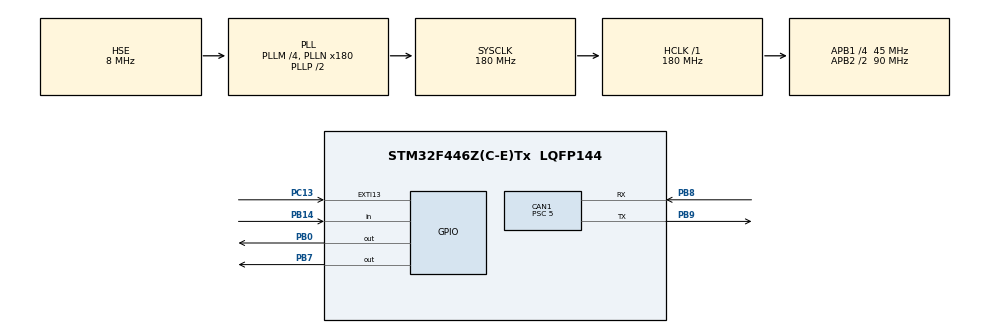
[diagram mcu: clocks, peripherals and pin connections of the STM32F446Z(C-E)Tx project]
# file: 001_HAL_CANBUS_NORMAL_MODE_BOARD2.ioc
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CAN1.ABOM=ENABLE
CAN1.AWUM=ENABLE
CAN1.BS1=CAN_BS1_15TQ
CAN1.BS2=CAN_BS2_2TQ
CAN1.CalculateBaudRate=500000
CAN1.CalculateTimeBit=1999.99
CAN1.CalculateTimeQuantum=111.11111111111111
CAN1.Prescaler=5
Mcu.Family=STM32F4
Mcu.Name=STM32F446Z(C-E)Tx
Mcu.Package=LQFP144
NVIC.EXTI15_10_IRQn=true\:0\:0\:false\:false\:true\:true\:true
NVIC.PriorityGroup=NVIC_PRIORITYGROUP_4
NVIC.TIM8_TRG_COM_TIM14_IRQn=true\:15\:0\:false\:false\:true\:false\:true
NVIC.TimeBase=TIM8_TRG_COM_TIM14_IRQn
NVIC.TimeBaseIP=TIM14
PB0.Signal=GPIO_Output
PB14.Signal=GPIO_Input
PB7.Signal=GPIO_Output
PB8.Mode=CAN_Activate
PB8.Signal=CAN1_RX
PB9.Mode=CAN_Activate
PB9.Signal=CAN1_TX
PC13.Signal=GPXTI13
PH0-OSC_IN.Mode=HSE-External-Oscillator
PH0-OSC_IN.Signal=RCC_OSC_IN
PH1-OSC_OUT.Mode=HSE-External-Oscillator
PH1-OSC_OUT.Signal=RCC_OSC_OUT
ProjectManager.HeapSize=0x200
ProjectManager.StackSize=0x400
ProjectManager.TargetToolchain=TrueSTUDIO
RCC.AHBFreq_Value=180000000
RCC.APB1CLKDivider=RCC_HCLK_DIV4
RCC.APB1Freq_Value=45000000
RCC.APB1TimFreq_Value=90000000
RCC.APB2CLKDivider=RCC_HCLK_DIV2
RCC.APB2Freq_Value=90000000
RCC.APB2TimFreq_Value=180000000
RCC.CortexFreq_Value=180000000
RCC.HCLKFreq_Value=180000000
RCC.HSE_VALUE=8000000
RCC.PLLM=4
RCC.PLLN=180
RCC.PLLSourceVirtual=RCC_PLLSOURCE_HSE
RCC.SYSCLKFreq_VALUE=180000000
RCC.SYSCLKSource=RCC_SYSCLKSOURCE_PLLCLK
RCC.USBFreq_Value=180000000
RCC.VCOOutputFreq_Value=360000000
VP_SYS_VS_tim14.Mode=TIM14
board=custom

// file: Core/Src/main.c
/* USER CODE BEGIN Header */
/**
  ******************************************************************************
  * @file           : main.c
  * @brief          : Main program body
  ******************************************************************************
  * @attention
  *
  * <h2><center>&copy; Copyright (c) 2021 STMicroelectronics.
  * All rights reserved.</center></h2>
  *
  * This software component is licensed by ST under BSD 3-Clause license,
  * the "License"; You may not use this file except in compliance with the
  * License. You may obtain a copy of the License at:
  *                        opensource.org/licenses/BSD-3-Clause
  *
  ******************************************************************************
  */
/* USER CODE END Header */
#include "main.h"
#include "deltav_can.h"

CAN_HandleTypeDef hcan1;

/* USER CODE BEGIN PV */
uint8_t TxData[8];
uint8_t count = 0;
/* USER CODE END PV */

void SystemClock_Config(void);
static void MX_GPIO_Init(void);
static void MX_CAN1_Init(void);

int main(void)
{

  /* MCU Configuration--------------------------------------------------------*/

  /* Reset of all peripherals, Initializes the Flash interface and the Systick. */
  HAL_Init();

  /* Configure the system clock */
  SystemClock_Config();

  /* Initialize all configured peripherals */
  MX_GPIO_Init();
  MX_CAN1_Init();
  /* USER CODE BEGIN 2 */
  CAN_FilterConfig(&hcan1, CAN_ID_EXT, CAN_FILTER_ENABLE, 0, CAN_FILTER_FIFO0, CAN_FILTERMODE_IDLIST, CAN_FILTERSCALE_32BIT, 14, 0x1F45DA12, 0x1F45DA12, 0x1FFFFFF0, 0x1FFFFFF0);
  CAN_FilterConfig(&hcan1, CAN_ID_STD, CAN_FILTER_ENABLE, 1, CAN_FILTER_FIFO0, CAN_FILTERMODE_IDMASK, CAN_FILTERSCALE_32BIT, 14, 0x0123, 0x0000, 0x07FF, 0x0000);
  //  Enable interrupts.
  if (HAL_CAN_ActivateNotification(&hcan1, CAN_IT_RX_FIFO0_MSG_PENDING) != HAL_OK)
  {
  	Error_Handler();
  }
  CAN_Start(&hcan1);
  /* USER CODE END 2 */

  /* Infinite loop */
  while (1)
  {

  }
}

void SystemClock_Config(void)
{
  RCC_OscInitTypeDef RCC_OscInitStruct = {0};
  RCC_ClkInitTypeDef RCC_ClkInitStruct = {0};

  /** Configure the main internal regulator output voltage
  */
  __HAL_RCC_PWR_CLK_ENABLE();
  __HAL_PWR_VOLTAGESCALING_CONFIG(PWR_REGULATOR_VOLTAGE_SCALE1);
  /** Initializes the RCC Oscillators according to the specified parameters
  * in the RCC_OscInitTypeDef structure.
  */
  RCC_OscInitStruct.OscillatorType = RCC_OSCILLATORTYPE_HSE;
  RCC_OscInitStruct.HSEState = RCC_HSE_ON;
  RCC_OscInitStruct.PLL.PLLState = RCC_PLL_ON;
  RCC_OscInitStruct.PLL.PLLSource = RCC_PLLSOURCE_HSE;
  RCC_OscInitStruct.PLL.PLLM = 4;
  RCC_OscInitStruct.PLL.PLLN = 180;
  RCC_OscInitStruct.PLL.PLLP = RCC_PLLP_DIV2;
  RCC_OscInitStruct.PLL.PLLQ = 2;
  RCC_OscInitStruct.PLL.PLLR = 2;
  if (HAL_RCC_OscConfig(&RCC_OscInitStruct) != HAL_OK)
  {
    Error_Handler();
  }
  /** Activate the Over-Drive mode
  */
  if (HAL_PWREx_EnableOverDrive() != HAL_OK)
  {
    Error_Handler();
  }
  /** Initializes the CPU, AHB and APB buses clocks
  */
  RCC_ClkInitStruct.ClockType = RCC_CLOCKTYPE_HCLK|RCC_CLOCKTYPE_SYSCLK
                              |RCC_CLOCKTYPE_PCLK1|RCC_CLOCKTYPE_PCLK2;
  RCC_ClkInitStruct.SYSCLKSource = RCC_SYSCLKSOURCE_PLLCLK;
  RCC_ClkInitStruct.AHBCLKDivider = RCC_SYSCLK_DIV1;
  RCC_ClkInitStruct.APB1CLKDivider = RCC_HCLK_DIV4;
  RCC_ClkInitStruct.APB2CLKDivider = RCC_HCLK_DIV2;

  if (HAL_RCC_ClockConfig(&RCC_ClkInitStruct, FLASH_LATENCY_5) != HAL_OK)
  {
    Error_Handler();
  }
}

static void MX_CAN1_Init(void)
{

  hcan1.Instance = CAN1;
  hcan1.Init.Prescaler = 20;
  hcan1.Init.Mode = CAN_MODE_NORMAL;
  hcan1.Init.SyncJumpWidth = CAN_SJW_1TQ;
  hcan1.Init.TimeSeg1 = CAN_BS1_15TQ;
  hcan1.Init.TimeSeg2 = CAN_BS2_2TQ;
  hcan1.Init.TimeTriggeredMode = DISABLE;
  hcan1.Init.AutoBusOff = ENABLE;
  hcan1.Init.AutoWakeUp = ENABLE;
  hcan1.Init.AutoRetransmission = DISABLE;
  hcan1.Init.ReceiveFifoLocked = DISABLE;
  hcan1.Init.TransmitFifoPriority = DISABLE;
  if (HAL_CAN_Init(&hcan1) != HAL_OK)
  {
    Error_Handler();
  }

}

static void MX_GPIO_Init(void)
{
  GPIO_InitTypeDef GPIO_InitStruct = {0};

  /* GPIO Ports Clock Enable */
  __HAL_RCC_GPIOC_CLK_ENABLE();
  __HAL_RCC_GPIOH_CLK_ENABLE();
  __HAL_RCC_GPIOB_CLK_ENABLE();

  /*Configure GPIO pin Output Level */
  HAL_GPIO_WritePin(GPIOB, GPIO_PIN_0|GPIO_PIN_7, GPIO_PIN_RESET);

  /*Configure GPIO pin : PC13 */
  GPIO_InitStruct.Pin = GPIO_PIN_13;
  GPIO_InitStruct.Mode = GPIO_MODE_IT_RISING;
  GPIO_InitStruct.Pull = GPIO_NOPULL;
  HAL_GPIO_Init(GPIOC, &GPIO_InitStruct);

  /*Configure GPIO pins : PB0 PB7 */
  GPIO_InitStruct.Pin = GPIO_PIN_0|GPIO_PIN_7|GPIO_PIN_14;
  GPIO_InitStruct.Mode = GPIO_MODE_OUTPUT_PP;
  GPIO_InitStruct.Pull = GPIO_NOPULL;
  GPIO_InitStruct.Speed = GPIO_SPEED_FREQ_LOW;
  HAL_GPIO_Init(GPIOB, &GPIO_InitStruct);

  /* EXTI interrupt init*/
  HAL_NVIC_SetPriority(EXTI15_10_IRQn, 0, 0);
  HAL_NVIC_EnableIRQ(EXTI15_10_IRQn);

}

void Error_Handler(void)
{
  __disable_irq();
  while (1)
  {
  }
}

/* USER CODE BEGIN 4 */

void HAL_CAN_TxMailbox0CompleteCallback(CAN_HandleTypeDef *hcan){

}
void HAL_CAN_TxMailbox1CompleteCallback(CAN_HandleTypeDef *hcan){

}
void HAL_CAN_TxMailbox2CompleteCallback(CAN_HandleTypeDef *hcan){

}
void HAL_CAN_TxMailbox0AbortCallback(CAN_HandleTypeDef *hcan){

}
void HAL_CAN_TxMailbox1AbortCallback(CAN_HandleTypeDef *hcan){

}
void HAL_CAN_TxMailbox2AbortCallback(CAN_HandleTypeDef *hcan){

}
void HAL_CAN_RxFifo0MsgPendingCallback(CAN_HandleTypeDef *hcan){

	CAN_Rx(&hcan1,CAN_RX_FIFO0);

		if(RxData[0] %3 == 1){
			HAL_GPIO_WritePin(GPIOB, GPIO_PIN_0, GPIO_PIN_SET);
			HAL_GPIO_WritePin(GPIOB, GPIO_PIN_7 | GPIO_PIN_14, GPIO_PIN_RESET);
		}
		else if(RxData[0] %3 == 2){
			HAL_GPIO_WritePin(GPIOB, GPIO_PIN_7, GPIO_PIN_SET);
			HAL_GPIO_WritePin(GPIOB, GPIO_PIN_0 | GPIO_PIN_14, GPIO_PIN_RESET);
		}
		else if(RxData[0] %3 == 0){
			HAL_GPIO_WritePin(GPIOB, GPIO_PIN_14, GPIO_PIN_SET);
			HAL_GPIO_WritePin(GPIOB, GPIO_PIN_0 | GPIO_PIN_7, GPIO_PIN_RESET);
		}

}
void HAL_CAN_RxFifo0FullCallback(CAN_HandleTypeDef *hcan){

}
void HAL_CAN_RxFifo1MsgPendingCallback(CAN_HandleTypeDef *hcan){

}
void HAL_CAN_RxFifo1FullCallback(CAN_HandleTypeDef *hcan){

}
void HAL_CAN_SleepCallback(CAN_HandleTypeDef *hcan){

}
void HAL_CAN_WakeUpFromRxMsgCallback(CAN_HandleTypeDef *hcan){

}
void HAL_CAN_ErrorCallback(CAN_HandleTypeDef *hcan){

}
/* USER CODE END 4 */

void HAL_TIM_PeriodElapsedCallback(TIM_HandleTypeDef *htim)
{
  if (htim->Instance == TIM14) {
    HAL_IncTick();
  }
}

/************************ (C) COPYRIGHT STMicroelectronics *****END OF FILE****/
